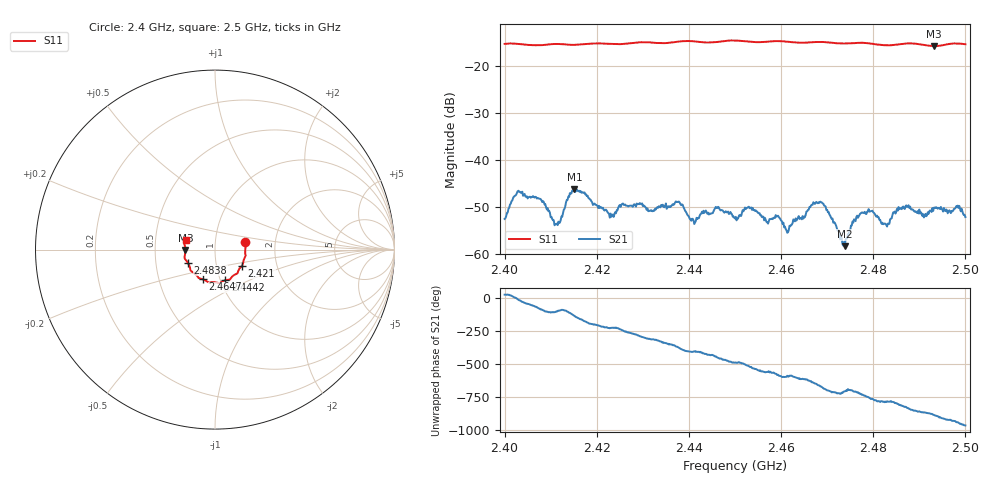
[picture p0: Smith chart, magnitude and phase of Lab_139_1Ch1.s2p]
# Hz S RI R 50
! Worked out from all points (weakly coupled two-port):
!   601 points, 2.4 GHz to 2.5 GHz, reference 50 ohm
!   highest |S21| = -46.20 dB at 2.4152 GHz (marker M1); lowest = -58.4 dB at 2.4738 GHz (marker M2)
!   lowest |S11| = -15.7 dB at 2.4932 GHz (marker M3), VSWR 1.39, Z = 35.8 - j0.12 ohm
!   |S11| at or under -10 dB: start of sweep to end of sweep
!   S12 and S22 are empty: the file has one direction only
!   S11 on the Smith chart (normalised r, x): 2.4 GHz: 1.40, +0.12; 2.421 GHz: 1.33, -0.24; 2.4442 GHz: 1.05, -0.37; 2.4647 GHz: 0.83, -0.28; 2.4838 GHz: 0.73, -0.11; 2.5 GHz: 0.71, +0.08
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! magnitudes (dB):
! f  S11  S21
! 2.4 GHz  -15.2  -52.6
! 2.4033 GHz  -15.2  -46.8
! 2.408 GHz  -15.5  -48.6
! 2.4113 GHz  -15.2  -53.5
! 2.4152 GHz  -15.4  -46.2
! 2.4167 GHz  -15.3  -46.9
! 2.421 GHz  -15.1  -50.1
! 2.4333 GHz  -15.0  -50.1
! 2.441 GHz  -14.6  -52.9
! 2.4442 GHz  -14.9  -51.2
! 2.45 GHz  -14.5  -52.5
! 2.4533 GHz  -14.8  -50.2
! 2.4612 GHz  -14.7  -54.9
! 2.4647 GHz  -14.9  -51.9
! 2.4667 GHz  -14.8  -49.5
! 2.4692 GHz  -14.8  -49.3
! 2.4738 GHz  -15.1  -58.4
! 2.4777 GHz  -14.9  -51.2
! 2.4833 GHz  -15.5  -53.6
! 2.4838 GHz  -15.5  -52.5
! 2.4932 GHz  -15.7  -50.2
! 2.5 GHz  -15.3  -52.1
